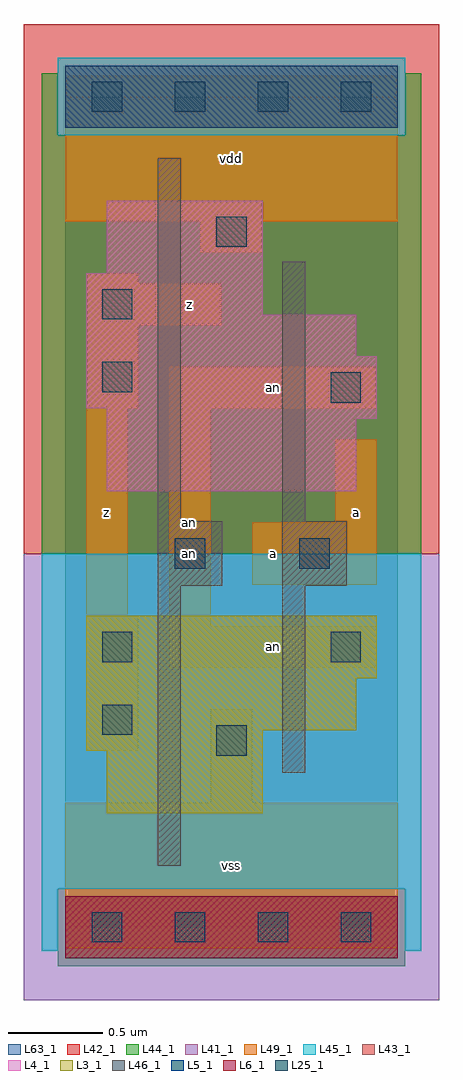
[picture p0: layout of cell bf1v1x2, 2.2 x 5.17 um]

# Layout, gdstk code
import gdstk
lib = gdstk.Library(unit=1e-6, precision=1e-09)
def R(c, l, rs):  # rectangles x0, y0, x1, y1
    for r in rs: c.add(gdstk.rectangle(r[:2], r[2:], *l))
def A(c, l, x, y, w, h, nx, ny, dx, dy):  # array of equal rectangles
    R(c, l, [(x+i*dx, y+j*dy, x+i*dx+w, y+j*dy+h) for i in range(nx) for j in range(ny)])
L3_1 = (3, 1)
L4_1 = (4, 1)
L5_1 = (5, 1)
L6_1 = (6, 1)
L25_1 = (25, 1)
L41_1 = (41, 1)
L42_1 = (42, 1)
L43_1 = (43, 1)
L44_1 = (44, 1)
L45_1 = (45, 1)
L46_1 = (46, 1)
L49_1 = (49, 1)
L63_1 = (63, 1)

bf1v1x2 = lib.new_cell('bf1v1x2')
R(bf1v1x2, L3_1, [(0.22,0.605,1.045,0.935), (0.11,0.935,1.045,1.045), (0.11,1.045,1.54,1.32), (0.11,1.32,1.65,1.65)])
R(bf1v1x2, L4_1, [(0.22,2.31,1.54,2.695), (0.22,2.695,1.65,2.75), (0.11,2.75,1.65,3.025), (0.11,3.025,1.54,3.245), (0.11,3.245,1.045,3.465), (0.22,3.465,1.045,3.85)])
R(bf1v1x2, L5_1, [(0,4.235,1.76,4.565)])
R(bf1v1x2, L6_1, [(0,-0.165,1.76,0.165)])
A(bf1v1x2, L25_1, 0.14, -0.08, 0.16, 0.16, 4, 2, 0.44, 4.4)
R(bf1v1x2, L25_1, [(0.8,0.91,0.96,1.07), (0.195,1.02,0.355,1.18), (0.195,1.405,0.355,1.565), (1.405,1.405,1.565,1.565), (0.58,1.9,0.74,2.06), (1.24,1.9,1.4,2.06), (1.405,2.78,1.565,2.94), (0.195,2.835,0.355,2.995), (0.195,3.22,0.355,3.38), (0.8,3.605,0.96,3.765)])
R(bf1v1x2, L41_1, [(-0.22,-0.385,1.98,1.98)])
R(bf1v1x2, L42_1, [(-0.22,1.98,1.98,4.785)])
R(bf1v1x2, L43_1, [(0,-0.165,1.76,0.165), (0.22,0.605,1.045,0.935), (0.11,0.935,1.045,1.045), (0.11,1.045,1.54,1.32), (0.11,1.32,1.65,1.65), (0.22,2.31,1.54,2.695), (0.22,2.695,1.65,2.75), (0.11,2.75,1.65,3.025), (0.11,3.025,1.54,3.245), (0.11,3.245,1.045,3.465), (0.22,3.465,1.045,3.85), (0,4.235,1.76,4.565)])
R(bf1v1x2, L44_1, [(-0.04,-0.205,1.8,0.205), (-0.125,1.98,1.885,4.195), (-0.125,4.195,-0.04,4.525), (1.8,4.195,1.885,4.525)])
R(bf1v1x2, L45_1, [(-0.125,-0.125,-0.04,0.205), (1.8,-0.125,1.885,0.205), (-0.125,0.205,1.885,1.98), (-0.04,4.195,1.8,4.605)])
R(bf1v1x2, L46_1, [(0.49,0.325,0.61,1.81), (1.15,0.82,1.27,1.81), (0.49,1.81,0.83,2.15), (1.15,1.81,1.49,2.15), (0.49,2.15,0.61,4.075), (1.15,2.15,1.27,3.525)])
R(bf1v1x2, L49_1, [(0,-0.11,1.76,0.66), (0.77,0.66,0.99,1.155), (0.11,0.935,0.385,1.65), (0.55,1.375,1.65,1.595), (0.55,1.595,0.77,2.75), (0.11,1.65,0.33,2.75), (0.99,1.815,1.65,2.145), (1.43,2.145,1.65,2.585), (0.11,2.75,0.385,3.19), (0.55,2.75,1.65,2.97), (0.11,3.19,0.825,3.41), (0.11,3.41,0.385,3.465), (0.715,3.575,1.045,3.74), (0,3.74,1.76,4.51)])
R(bf1v1x2, L63_1, [(0,0,1.76,4.4)])
bf1v1x2.add(gdstk.Label('an', (0.66,1.98), layer=49, texttype=1))
bf1v1x2.add(gdstk.Label('z', (0.22,2.2), layer=49, texttype=1))
bf1v1x2.add(gdstk.Label('an', (0.66,2.145), layer=49, texttype=1))
bf1v1x2.add(gdstk.Label('z', (0.66,3.3), layer=49, texttype=1))
bf1v1x2.add(gdstk.Label('vss', (0.88,0.33), layer=49, texttype=1))
bf1v1x2.add(gdstk.Label('a', (1.1,1.98), layer=49, texttype=1))
bf1v1x2.add(gdstk.Label('vdd', (0.88,4.07), layer=49, texttype=1))
bf1v1x2.add(gdstk.Label('an', (1.1,1.485), layer=49, texttype=1))
bf1v1x2.add(gdstk.Label('a', (1.54,2.2), layer=49, texttype=1))
bf1v1x2.add(gdstk.Label('an', (1.1,2.86), layer=49, texttype=1))

lib.write_gds('bf1v1x2.gds')
